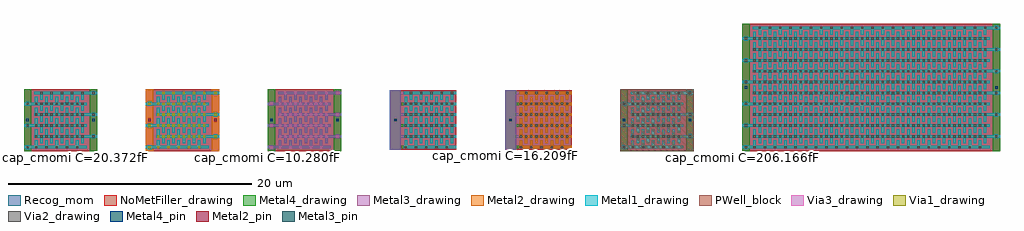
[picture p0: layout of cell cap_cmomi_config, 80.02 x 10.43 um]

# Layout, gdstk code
import gdstk
lib = gdstk.Library(unit=1e-6, precision=1e-09)
def R(c, l, rs):  # rectangles x0, y0, x1, y1
    for r in rs: c.add(gdstk.rectangle(r[:2], r[2:], *l))
def A(c, l, x, y, w, h, nx, ny, dx, dy):  # array of equal rectangles
    R(c, l, [(x+i*dx, y+j*dy, x+i*dx+w, y+j*dy+h) for i in range(nx) for j in range(ny)])
Metal1_drawing = (8, 0)
Metal2_drawing = (10, 0)
Metal2_pin = (10, 2)
Via1_drawing = (19, 0)
Via2_drawing = (29, 0)
Metal3_drawing = (30, 0)
Metal3_pin = (30, 2)
PWell_block = (46, 21)
Via3_drawing = (49, 0)
Metal4_drawing = (50, 0)
Metal4_pin = (50, 2)
Recog_mom = (99, 39)
NoMetFiller_drawing = (160, 0)

cap_cmomi_config = lib.new_cell('cap_cmomi_config')
A(cap_cmomi_config, Metal1_drawing, 0.145, -0.155, 0.31, 0.31, 1, 3, 0, 1.78)
A(cap_cmomi_config, Metal1_drawing, 10.145, -0.155, 0.31, 0.31, 1, 3, 0, 1.78)
A(cap_cmomi_config, Metal1_drawing, 49.045, -0.155, 0.31, 0.31, 1, 3, 0, 1.78)
A(cap_cmomi_config, Metal1_drawing, 59.045, -0.155, 0.31, 0.31, 1, 6, 0, 1.78)
A(cap_cmomi_config, Metal1_drawing, 0, -0.105, 5.15, 0.21, 1, 3, 0, 1.78)
A(cap_cmomi_config, Metal1_drawing, 10, -0.105, 5.15, 0.21, 1, 3, 0, 1.78)
A(cap_cmomi_config, Metal1_drawing, 31.15, -0.105, 4.3, 0.21, 1, 6, 0, 0.89)
A(cap_cmomi_config, Metal1_drawing, 48.9, -0.105, 5.15, 0.21, 1, 3, 0, 1.78)
A(cap_cmomi_config, Metal1_drawing, 58.9, -0.105, 20.27, 0.21, 1, 6, 0, 1.78)
A(cap_cmomi_config, Metal1_drawing, 0.9, 0, 0.21, 0.575, 5, 5, 0.84, 0.89)
A(cap_cmomi_config, Metal1_drawing, 10.9, 0, 0.21, 0.575, 5, 5, 0.84, 0.89)
A(cap_cmomi_config, Metal1_drawing, 31.2, 0, 0.21, 0.575, 5, 5, 0.84, 0.89)
A(cap_cmomi_config, Metal1_drawing, 49.8, 0, 0.21, 0.575, 5, 5, 0.84, 0.89)
A(cap_cmomi_config, Metal1_drawing, 59.8, 0, 0.21, 0.575, 23, 11, 0.84, 0.89)
A(cap_cmomi_config, Metal1_drawing, 1.32, 0.315, 0.21, 0.575, 5, 5, 0.84, 0.89)
A(cap_cmomi_config, Metal1_drawing, 11.32, 0.315, 0.21, 0.575, 5, 5, 0.84, 0.89)
A(cap_cmomi_config, Metal1_drawing, 31.62, 0.315, 0.21, 0.575, 5, 5, 0.84, 0.89)
A(cap_cmomi_config, Metal1_drawing, 50.22, 0.315, 0.21, 0.575, 5, 5, 0.84, 0.89)
A(cap_cmomi_config, Metal1_drawing, 60.22, 0.315, 0.21, 0.575, 23, 11, 0.84, 0.89)
A(cap_cmomi_config, Metal1_drawing, 5.545, 0.735, 0.31, 0.31, 1, 3, 0, 1.78)
A(cap_cmomi_config, Metal1_drawing, 15.545, 0.735, 0.31, 0.31, 1, 3, 0, 1.78)
A(cap_cmomi_config, Metal1_drawing, 54.445, 0.735, 0.31, 0.31, 1, 3, 0, 1.78)
A(cap_cmomi_config, Metal1_drawing, 79.565, 0.735, 0.31, 0.31, 1, 6, 0, 1.78)
A(cap_cmomi_config, Metal1_drawing, 0.85, 0.785, 5.15, 0.21, 1, 3, 0, 1.78)
A(cap_cmomi_config, Metal1_drawing, 10.85, 0.785, 5.15, 0.21, 1, 3, 0, 1.78)
A(cap_cmomi_config, Metal1_drawing, 49.75, 0.785, 5.15, 0.21, 1, 3, 0, 1.78)
A(cap_cmomi_config, Metal1_drawing, 59.75, 0.785, 20.27, 0.21, 1, 6, 0, 1.78)
A(cap_cmomi_config, Metal2_drawing, 0.145, -0.155, 0.31, 0.31, 1, 3, 0, 1.78)
A(cap_cmomi_config, Metal2_drawing, 49.045, -0.155, 0.31, 0.31, 1, 3, 0, 1.78)
A(cap_cmomi_config, Metal2_drawing, 59.045, -0.155, 0.31, 0.31, 1, 6, 0, 1.78)
A(cap_cmomi_config, Metal2_drawing, 0, -0.105, 5.15, 0.21, 1, 3, 0, 1.78)
A(cap_cmomi_config, Metal2_drawing, 10, -0.105, 5.15, 0.21, 1, 3, 0, 1.78)
A(cap_cmomi_config, Metal2_drawing, 31.15, -0.105, 4.3, 0.21, 1, 6, 0, 0.89)
A(cap_cmomi_config, Metal2_drawing, 40.6, -0.105, 4.3, 0.21, 1, 6, 0, 0.89)
A(cap_cmomi_config, Metal2_drawing, 48.9, -0.105, 5.15, 0.21, 1, 3, 0, 1.78)
A(cap_cmomi_config, Metal2_drawing, 58.9, -0.105, 20.27, 0.21, 1, 6, 0, 1.78)
A(cap_cmomi_config, Metal2_drawing, 0.9, 0, 0.21, 0.575, 5, 5, 0.84, 0.89)
A(cap_cmomi_config, Metal2_drawing, 10.9, 0, 0.21, 0.575, 5, 5, 0.84, 0.89)
A(cap_cmomi_config, Metal2_drawing, 31.2, 0, 0.21, 0.575, 5, 5, 0.84, 0.89)
A(cap_cmomi_config, Metal2_drawing, 40.65, 0, 0.21, 0.575, 5, 5, 0.84, 0.89)
A(cap_cmomi_config, Metal2_drawing, 49.8, 0, 0.21, 0.575, 5, 5, 0.84, 0.89)
A(cap_cmomi_config, Metal2_drawing, 59.8, 0, 0.21, 0.575, 23, 11, 0.84, 0.89)
A(cap_cmomi_config, Metal2_drawing, 1.32, 0.315, 0.21, 0.575, 5, 5, 0.84, 0.89)
A(cap_cmomi_config, Metal2_drawing, 11.32, 0.315, 0.21, 0.575, 5, 5, 0.84, 0.89)
A(cap_cmomi_config, Metal2_drawing, 31.62, 0.315, 0.21, 0.575, 5, 5, 0.84, 0.89)
A(cap_cmomi_config, Metal2_drawing, 41.07, 0.315, 0.21, 0.575, 5, 5, 0.84, 0.89)
A(cap_cmomi_config, Metal2_drawing, 50.22, 0.315, 0.21, 0.575, 5, 5, 0.84, 0.89)
A(cap_cmomi_config, Metal2_drawing, 60.22, 0.315, 0.21, 0.575, 23, 11, 0.84, 0.89)
A(cap_cmomi_config, Metal2_drawing, 5.545, 0.735, 0.31, 0.31, 1, 3, 0, 1.78)
A(cap_cmomi_config, Metal2_drawing, 54.445, 0.735, 0.31, 0.31, 1, 3, 0, 1.78)
A(cap_cmomi_config, Metal2_drawing, 79.565, 0.735, 0.31, 0.31, 1, 6, 0, 1.78)
A(cap_cmomi_config, Metal2_drawing, 0.85, 0.785, 5.15, 0.21, 1, 3, 0, 1.78)
A(cap_cmomi_config, Metal2_drawing, 10.85, 0.785, 5.15, 0.21, 1, 3, 0, 1.78)
A(cap_cmomi_config, Metal2_drawing, 49.75, 0.785, 5.15, 0.21, 1, 3, 0, 1.78)
A(cap_cmomi_config, Metal2_drawing, 59.75, 0.785, 20.27, 0.21, 1, 6, 0, 1.78)
R(cap_cmomi_config, Metal2_drawing, [(10,-0.32,10.6,4.77), (15.4,-0.32,16,4.77)])
R(cap_cmomi_config, Metal2_pin, [(10.2,2.12,10.4,2.33), (15.6,2.12,15.8,2.33)])
A(cap_cmomi_config, Via1_drawing, 0.205, -0.095, 0.19, 0.19, 1, 3, 0, 1.78)
A(cap_cmomi_config, Via1_drawing, 0.91, -0.095, 0.19, 0.19, 5, 1, 0.84, 0)
A(cap_cmomi_config, Via1_drawing, 10.205, -0.095, 0.19, 0.19, 1, 3, 0, 1.78)
A(cap_cmomi_config, Via1_drawing, 10.91, -0.095, 0.19, 0.19, 5, 1, 0.84, 0)
A(cap_cmomi_config, Via1_drawing, 31.21, -0.095, 0.19, 0.19, 5, 1, 0.84, 0)
A(cap_cmomi_config, Via1_drawing, 49.105, -0.095, 0.19, 0.19, 1, 3, 0, 1.78)
A(cap_cmomi_config, Via1_drawing, 49.81, -0.095, 0.19, 0.19, 5, 1, 0.84, 0)
A(cap_cmomi_config, Via1_drawing, 59.105, -0.095, 0.19, 0.19, 1, 6, 0, 1.78)
A(cap_cmomi_config, Via1_drawing, 59.81, -0.095, 0.19, 0.19, 23, 1, 0.84, 0)
A(cap_cmomi_config, Via1_drawing, 0.91, 0.795, 0.19, 0.19, 10, 4, 0.42, 0.89)
A(cap_cmomi_config, Via1_drawing, 5.605, 0.795, 0.19, 0.19, 1, 3, 0, 1.78)
A(cap_cmomi_config, Via1_drawing, 10.91, 0.795, 0.19, 0.19, 10, 4, 0.42, 0.89)
A(cap_cmomi_config, Via1_drawing, 15.605, 0.795, 0.19, 0.19, 1, 3, 0, 1.78)
A(cap_cmomi_config, Via1_drawing, 31.21, 0.795, 0.19, 0.19, 10, 4, 0.42, 0.89)
A(cap_cmomi_config, Via1_drawing, 49.81, 0.795, 0.19, 0.19, 10, 4, 0.42, 0.89)
A(cap_cmomi_config, Via1_drawing, 54.505, 0.795, 0.19, 0.19, 1, 3, 0, 1.78)
A(cap_cmomi_config, Via1_drawing, 59.81, 0.795, 0.19, 0.19, 46, 10, 0.42, 0.89)
A(cap_cmomi_config, Via1_drawing, 79.625, 0.795, 0.19, 0.19, 1, 6, 0, 1.78)
A(cap_cmomi_config, Via1_drawing, 1.33, 4.355, 0.19, 0.19, 5, 1, 0.84, 0)
A(cap_cmomi_config, Via1_drawing, 11.33, 4.355, 0.19, 0.19, 5, 1, 0.84, 0)
A(cap_cmomi_config, Via1_drawing, 31.63, 4.355, 0.19, 0.19, 5, 1, 0.84, 0)
A(cap_cmomi_config, Via1_drawing, 50.23, 4.355, 0.19, 0.19, 5, 1, 0.84, 0)
A(cap_cmomi_config, Via1_drawing, 60.23, 9.695, 0.19, 0.19, 23, 1, 0.84, 0)
A(cap_cmomi_config, Via2_drawing, 0.205, -0.095, 0.19, 0.19, 1, 3, 0, 1.78)
A(cap_cmomi_config, Via2_drawing, 0.91, -0.095, 0.19, 0.19, 5, 1, 0.84, 0)
A(cap_cmomi_config, Via2_drawing, 31.21, -0.095, 0.19, 0.19, 5, 1, 0.84, 0)
A(cap_cmomi_config, Via2_drawing, 40.66, -0.095, 0.19, 0.19, 5, 1, 0.84, 0)
A(cap_cmomi_config, Via2_drawing, 49.105, -0.095, 0.19, 0.19, 1, 3, 0, 1.78)
A(cap_cmomi_config, Via2_drawing, 49.81, -0.095, 0.19, 0.19, 5, 1, 0.84, 0)
A(cap_cmomi_config, Via2_drawing, 59.105, -0.095, 0.19, 0.19, 1, 6, 0, 1.78)
A(cap_cmomi_config, Via2_drawing, 59.81, -0.095, 0.19, 0.19, 23, 1, 0.84, 0)
A(cap_cmomi_config, Via2_drawing, 0.91, 0.795, 0.19, 0.19, 10, 4, 0.42, 0.89)
A(cap_cmomi_config, Via2_drawing, 5.605, 0.795, 0.19, 0.19, 1, 3, 0, 1.78)
A(cap_cmomi_config, Via2_drawing, 31.21, 0.795, 0.19, 0.19, 10, 4, 0.42, 0.89)
A(cap_cmomi_config, Via2_drawing, 40.66, 0.795, 0.19, 0.19, 10, 4, 0.42, 0.89)
A(cap_cmomi_config, Via2_drawing, 49.81, 0.795, 0.19, 0.19, 10, 4, 0.42, 0.89)
A(cap_cmomi_config, Via2_drawing, 54.505, 0.795, 0.19, 0.19, 1, 3, 0, 1.78)
A(cap_cmomi_config, Via2_drawing, 59.81, 0.795, 0.19, 0.19, 46, 10, 0.42, 0.89)
A(cap_cmomi_config, Via2_drawing, 79.625, 0.795, 0.19, 0.19, 1, 6, 0, 1.78)
A(cap_cmomi_config, Via2_drawing, 1.33, 4.355, 0.19, 0.19, 5, 1, 0.84, 0)
A(cap_cmomi_config, Via2_drawing, 31.63, 4.355, 0.19, 0.19, 5, 1, 0.84, 0)
A(cap_cmomi_config, Via2_drawing, 41.08, 4.355, 0.19, 0.19, 5, 1, 0.84, 0)
A(cap_cmomi_config, Via2_drawing, 50.23, 4.355, 0.19, 0.19, 5, 1, 0.84, 0)
A(cap_cmomi_config, Via2_drawing, 60.23, 9.695, 0.19, 0.19, 23, 1, 0.84, 0)
A(cap_cmomi_config, Metal3_drawing, 0.145, -0.155, 0.31, 0.31, 1, 3, 0, 1.78)
A(cap_cmomi_config, Metal3_drawing, 20.145, -0.155, 0.31, 0.31, 1, 3, 0, 1.78)
A(cap_cmomi_config, Metal3_drawing, 49.045, -0.155, 0.31, 0.31, 1, 3, 0, 1.78)
A(cap_cmomi_config, Metal3_drawing, 59.045, -0.155, 0.31, 0.31, 1, 6, 0, 1.78)
A(cap_cmomi_config, Metal3_drawing, 0, -0.105, 5.15, 0.21, 1, 3, 0, 1.78)
A(cap_cmomi_config, Metal3_drawing, 20, -0.105, 5.15, 0.21, 1, 3, 0, 1.78)
A(cap_cmomi_config, Metal3_drawing, 31.15, -0.105, 4.3, 0.21, 1, 3, 0, 1.78)
A(cap_cmomi_config, Metal3_drawing, 40.6, -0.105, 4.3, 0.21, 1, 3, 0, 1.78)
A(cap_cmomi_config, Metal3_drawing, 48.9, -0.105, 5.15, 0.21, 1, 3, 0, 1.78)
A(cap_cmomi_config, Metal3_drawing, 58.9, -0.105, 20.27, 0.21, 1, 6, 0, 1.78)
A(cap_cmomi_config, Metal3_drawing, 0.9, 0, 0.21, 0.575, 5, 5, 0.84, 0.89)
A(cap_cmomi_config, Metal3_drawing, 20.9, 0, 0.21, 0.575, 5, 5, 0.84, 0.89)
A(cap_cmomi_config, Metal3_drawing, 31.2, 0, 0.21, 0.575, 5, 5, 0.84, 0.89)
A(cap_cmomi_config, Metal3_drawing, 40.65, 0, 0.21, 0.575, 5, 5, 0.84, 0.89)
A(cap_cmomi_config, Metal3_drawing, 49.8, 0, 0.21, 0.575, 5, 5, 0.84, 0.89)
A(cap_cmomi_config, Metal3_drawing, 59.8, 0, 0.21, 0.575, 23, 11, 0.84, 0.89)
A(cap_cmomi_config, Metal3_drawing, 1.32, 0.315, 0.21, 0.575, 5, 5, 0.84, 0.89)
A(cap_cmomi_config, Metal3_drawing, 21.32, 0.315, 0.21, 0.575, 5, 5, 0.84, 0.89)
A(cap_cmomi_config, Metal3_drawing, 31.62, 0.315, 0.21, 0.575, 5, 5, 0.84, 0.89)
A(cap_cmomi_config, Metal3_drawing, 41.07, 0.315, 0.21, 0.575, 5, 5, 0.84, 0.89)
A(cap_cmomi_config, Metal3_drawing, 50.22, 0.315, 0.21, 0.575, 5, 5, 0.84, 0.89)
A(cap_cmomi_config, Metal3_drawing, 60.22, 0.315, 0.21, 0.575, 23, 11, 0.84, 0.89)
A(cap_cmomi_config, Metal3_drawing, 5.545, 0.735, 0.31, 0.31, 1, 3, 0, 1.78)
A(cap_cmomi_config, Metal3_drawing, 25.545, 0.735, 0.31, 0.31, 1, 3, 0, 1.78)
A(cap_cmomi_config, Metal3_drawing, 54.445, 0.735, 0.31, 0.31, 1, 3, 0, 1.78)
A(cap_cmomi_config, Metal3_drawing, 79.565, 0.735, 0.31, 0.31, 1, 6, 0, 1.78)
A(cap_cmomi_config, Metal3_drawing, 0.85, 0.785, 5.15, 0.21, 1, 3, 0, 1.78)
A(cap_cmomi_config, Metal3_drawing, 20.85, 0.785, 5.15, 0.21, 1, 3, 0, 1.78)
A(cap_cmomi_config, Metal3_drawing, 30, 0.785, 5.45, 0.21, 1, 3, 0, 1.78)
A(cap_cmomi_config, Metal3_drawing, 39.45, 0.785, 5.45, 0.21, 1, 3, 0, 1.78)
A(cap_cmomi_config, Metal3_drawing, 49.75, 0.785, 5.15, 0.21, 1, 3, 0, 1.78)
A(cap_cmomi_config, Metal3_drawing, 59.75, 0.785, 20.27, 0.21, 1, 6, 0, 1.78)
R(cap_cmomi_config, Metal3_drawing, [(30,-0.21,30.9,4.66), (39.45,-0.21,40.35,4.66)])
R(cap_cmomi_config, Metal3_pin, [(30.35,2.12,30.55,2.33), (39.8,2.12,40,2.33)])
R(cap_cmomi_config, PWell_block, [(48.9,-0.32,54.9,4.77)])
A(cap_cmomi_config, Via3_drawing, 0.205, -0.095, 0.19, 0.19, 1, 3, 0, 1.78)
A(cap_cmomi_config, Via3_drawing, 0.91, -0.095, 0.19, 0.19, 5, 1, 0.84, 0)
A(cap_cmomi_config, Via3_drawing, 20.205, -0.095, 0.19, 0.19, 1, 3, 0, 1.78)
A(cap_cmomi_config, Via3_drawing, 20.91, -0.095, 0.19, 0.19, 5, 1, 0.84, 0)
A(cap_cmomi_config, Via3_drawing, 31.21, -0.095, 0.19, 0.19, 5, 1, 0.84, 0)
A(cap_cmomi_config, Via3_drawing, 40.66, -0.095, 0.19, 0.19, 5, 1, 0.84, 0)
A(cap_cmomi_config, Via3_drawing, 49.105, -0.095, 0.19, 0.19, 1, 3, 0, 1.78)
A(cap_cmomi_config, Via3_drawing, 49.81, -0.095, 0.19, 0.19, 5, 1, 0.84, 0)
A(cap_cmomi_config, Via3_drawing, 59.105, -0.095, 0.19, 0.19, 1, 6, 0, 1.78)
A(cap_cmomi_config, Via3_drawing, 59.81, -0.095, 0.19, 0.19, 23, 1, 0.84, 0)
A(cap_cmomi_config, Via3_drawing, 0.91, 0.795, 0.19, 0.19, 10, 4, 0.42, 0.89)
A(cap_cmomi_config, Via3_drawing, 5.605, 0.795, 0.19, 0.19, 1, 3, 0, 1.78)
A(cap_cmomi_config, Via3_drawing, 20.91, 0.795, 0.19, 0.19, 10, 4, 0.42, 0.89)
A(cap_cmomi_config, Via3_drawing, 25.605, 0.795, 0.19, 0.19, 1, 3, 0, 1.78)
A(cap_cmomi_config, Via3_drawing, 31.21, 0.795, 0.19, 0.19, 10, 4, 0.42, 0.89)
A(cap_cmomi_config, Via3_drawing, 40.66, 0.795, 0.19, 0.19, 10, 4, 0.42, 0.89)
A(cap_cmomi_config, Via3_drawing, 49.81, 0.795, 0.19, 0.19, 10, 4, 0.42, 0.89)
A(cap_cmomi_config, Via3_drawing, 54.505, 0.795, 0.19, 0.19, 1, 3, 0, 1.78)
A(cap_cmomi_config, Via3_drawing, 59.81, 0.795, 0.19, 0.19, 46, 10, 0.42, 0.89)
A(cap_cmomi_config, Via3_drawing, 79.625, 0.795, 0.19, 0.19, 1, 6, 0, 1.78)
A(cap_cmomi_config, Via3_drawing, 1.33, 4.355, 0.19, 0.19, 5, 1, 0.84, 0)
A(cap_cmomi_config, Via3_drawing, 21.33, 4.355, 0.19, 0.19, 5, 1, 0.84, 0)
A(cap_cmomi_config, Via3_drawing, 31.63, 4.355, 0.19, 0.19, 5, 1, 0.84, 0)
A(cap_cmomi_config, Via3_drawing, 41.08, 4.355, 0.19, 0.19, 5, 1, 0.84, 0)
A(cap_cmomi_config, Via3_drawing, 50.23, 4.355, 0.19, 0.19, 5, 1, 0.84, 0)
A(cap_cmomi_config, Via3_drawing, 60.23, 9.695, 0.19, 0.19, 23, 1, 0.84, 0)
A(cap_cmomi_config, Metal4_drawing, 0, -0.105, 5.15, 0.21, 1, 3, 0, 1.78)
A(cap_cmomi_config, Metal4_drawing, 20, -0.105, 5.15, 0.21, 1, 3, 0, 1.78)
A(cap_cmomi_config, Metal4_drawing, 30, -0.105, 5.45, 0.21, 1, 3, 0, 1.78)
A(cap_cmomi_config, Metal4_drawing, 39.45, -0.105, 5.45, 0.21, 1, 3, 0, 1.78)
A(cap_cmomi_config, Metal4_drawing, 48.9, -0.105, 5.15, 0.21, 1, 3, 0, 1.78)
A(cap_cmomi_config, Metal4_drawing, 58.9, -0.105, 20.27, 0.21, 1, 6, 0, 1.78)
A(cap_cmomi_config, Metal4_drawing, 0.9, 0, 0.21, 0.575, 5, 5, 0.84, 0.89)
A(cap_cmomi_config, Metal4_drawing, 20.9, 0, 0.21, 0.575, 5, 5, 0.84, 0.89)
A(cap_cmomi_config, Metal4_drawing, 31.2, 0, 0.21, 0.575, 5, 5, 0.84, 0.89)
A(cap_cmomi_config, Metal4_drawing, 40.65, 0, 0.21, 0.575, 5, 5, 0.84, 0.89)
A(cap_cmomi_config, Metal4_drawing, 49.8, 0, 0.21, 0.575, 5, 5, 0.84, 0.89)
A(cap_cmomi_config, Metal4_drawing, 59.8, 0, 0.21, 0.575, 23, 11, 0.84, 0.89)
A(cap_cmomi_config, Metal4_drawing, 1.32, 0.315, 0.21, 0.575, 5, 5, 0.84, 0.89)
A(cap_cmomi_config, Metal4_drawing, 21.32, 0.315, 0.21, 0.575, 5, 5, 0.84, 0.89)
A(cap_cmomi_config, Metal4_drawing, 31.62, 0.315, 0.21, 0.575, 5, 5, 0.84, 0.89)
A(cap_cmomi_config, Metal4_drawing, 41.07, 0.315, 0.21, 0.575, 5, 5, 0.84, 0.89)
A(cap_cmomi_config, Metal4_drawing, 50.22, 0.315, 0.21, 0.575, 5, 5, 0.84, 0.89)
A(cap_cmomi_config, Metal4_drawing, 60.22, 0.315, 0.21, 0.575, 23, 11, 0.84, 0.89)
A(cap_cmomi_config, Metal4_drawing, 0.85, 0.785, 5.15, 0.21, 1, 3, 0, 1.78)
A(cap_cmomi_config, Metal4_drawing, 20.85, 0.785, 5.15, 0.21, 1, 3, 0, 1.78)
A(cap_cmomi_config, Metal4_drawing, 31.15, 0.785, 4.3, 0.21, 1, 3, 0, 1.78)
A(cap_cmomi_config, Metal4_drawing, 40.6, 0.785, 4.3, 0.21, 1, 3, 0, 1.78)
A(cap_cmomi_config, Metal4_drawing, 49.75, 0.785, 5.15, 0.21, 1, 3, 0, 1.78)
A(cap_cmomi_config, Metal4_drawing, 59.75, 0.785, 20.27, 0.21, 1, 6, 0, 1.78)
R(cap_cmomi_config, Metal4_drawing, [(0,-0.32,0.6,4.77), (5.4,-0.32,6,4.77), (20,-0.32,20.6,4.77), (25.4,-0.32,26,4.77), (48.9,-0.32,49.5,4.77), (54.3,-0.32,54.9,4.77), (58.9,-0.32,59.5,10.11), (79.42,-0.32,80.02,10.11), (30,-0.21,30.9,4.66), (39.45,-0.21,40.35,4.66)])
R(cap_cmomi_config, Metal4_pin, [(0.2,2.12,0.4,2.33), (5.6,2.12,5.8,2.33), (20.2,2.12,20.4,2.33), (25.6,2.12,25.8,2.33), (30.35,2.12,30.55,2.33), (39.8,2.12,40,2.33), (49.1,2.12,49.3,2.33), (54.5,2.12,54.7,2.33), (59.1,4.79,59.3,5), (79.62,4.79,79.82,5)])
A(cap_cmomi_config, Recog_mom, 0, -0.32, 6, 5.09, 3, 1, 10, 0)
R(cap_cmomi_config, Recog_mom, [(48.9,-0.32,54.9,4.77), (58.9,-0.32,80.02,10.11), (30,-0.21,35.45,4.66), (39.45,-0.21,44.9,4.66)])
A(cap_cmomi_config, NoMetFiller_drawing, 0, -0.32, 6, 5.09, 3, 1, 10, 0)
R(cap_cmomi_config, NoMetFiller_drawing, [(48.9,-0.32,54.9,4.77), (58.9,-0.32,80.02,10.11), (30,-0.21,35.45,4.66), (39.45,-0.21,44.9,4.66)])
cap_cmomi_config.add(gdstk.Label('cap_cmomi C=20.372fF', (0,-0.82), layer=63, texttype=0))
cap_cmomi_config.add(gdstk.Label('cap_cmomi C=10.280fF', (10,-0.82), layer=63, texttype=0))
cap_cmomi_config.add(gdstk.Label('cap_cmomi C=10.280fF', (20,-0.82), layer=63, texttype=0))
cap_cmomi_config.add(gdstk.Label('cap_cmomi C=21.255fF', (30,-0.71), layer=63, texttype=0))
cap_cmomi_config.add(gdstk.Label('cap_cmomi C=16.209fF', (39.45,-0.71), layer=63, texttype=0))
cap_cmomi_config.add(gdstk.Label('cap_cmomi C=20.372fF', (48.9,-0.82), layer=63, texttype=0))
cap_cmomi_config.add(gdstk.Label('cap_cmomi C=206.166fF', (58.9,-0.82), layer=63, texttype=0))

lib.write_gds('cap_cmomi_config.gds')
